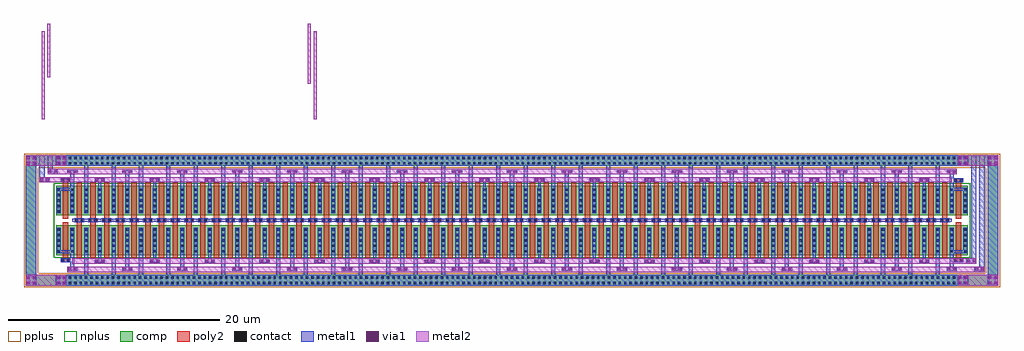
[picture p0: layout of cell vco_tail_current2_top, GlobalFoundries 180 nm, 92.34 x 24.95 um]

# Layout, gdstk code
from math import pi, radians
import gdstk
lib = gdstk.Library(unit=1e-6, precision=5e-09)
def R(c, l, rs):  # rectangles x0, y0, x1, y1
    for r in rs: c.add(gdstk.rectangle(r[:2], r[2:], *l))
def A(c, l, x, y, w, h, nx, ny, dx, dy):  # array of equal rectangles
    R(c, l, [(x+i*dx, y+j*dy, x+i*dx+w, y+j*dy+h) for i in range(nx) for j in range(ny)])
comp = (22, 0)
poly2 = (30, 0)
pplus = (31, 0)
nplus = (32, 0)
contact = (33, 0)
metal1 = (34, 0)
via1 = (35, 0)
metal2 = (36, 0)

vco_tail_current_ncell2_ = lib.new_cell('vco_tail_current_ncell2_1$2$1')
R(vco_tail_current_ncell2_, comp, [(0,0.3,0.42,3.12), (0.42,0.3,1.3,3.12), (1.3,0.3,1.72,3.12)])
R(vco_tail_current_ncell2_, poly2, [(0.61,0,1.11,3.42)])
A(vco_tail_current_ncell2_, contact, 0.1, 0.58, 0.22, 0.22, 1, 5, 0, 0.51)
A(vco_tail_current_ncell2_, contact, 1.4, 0.58, 0.22, 0.22, 1, 5, 0, 0.51)
R(vco_tail_current_ncell2_, metal1, [(0.02,0.5,0.4,2.92), (1.32,0.5,1.7,2.92)])

c_vco_tail_current_ncell2_ = lib.new_cell('vco_tail_current_ncell2_4$1')
A(c_vco_tail_current_ncell2_, poly2, 0.425, 3.42, 0.87, 0.36, 4, 1, 1.3, 0)
R(c_vco_tail_current_ncell2_, contact, [(0.495,3.49,0.715,3.71), (1.005,3.49,1.225,3.71), (1.795,3.49,2.015,3.71), (2.305,3.49,2.525,3.71), (3.095,3.49,3.315,3.71), (3.605,3.49,3.825,3.71), (4.395,3.49,4.615,3.71), (4.905,3.49,5.125,3.71)])
A(c_vco_tail_current_ncell2_, metal1, 0.415, 3.41, 0.89, 0.38, 4, 1, 1.3, 0)
c_vco_tail_current_ncell2_.add(gdstk.Reference(vco_tail_current_ncell2_, (0,0)))
c_vco_tail_current_ncell2_.add(gdstk.Reference(vco_tail_current_ncell2_, (1.3,0)))
c_vco_tail_current_ncell2_.add(gdstk.Reference(vco_tail_current_ncell2_, (2.6,0)))
c_vco_tail_current_ncell2_.add(gdstk.Reference(vco_tail_current_ncell2_, (3.9,0)))

c_vco_tail_current_ncell2__ = lib.new_cell('vco_tail_current_ncell2_4_4')
R(c_vco_tail_current_ncell2__, via1, [(0.1,1.57,0.36,1.83), (0.62,1.57,0.88,1.83), (5.3,1.57,5.56,1.83), (5.82,1.57,6.08,1.83), (2.695,2.35,2.955,2.61), (3.215,2.35,3.475,2.61), (2.695,10.05,2.955,10.31), (3.215,10.05,3.475,10.31), (0.1,10.83,0.36,11.09), (0.62,10.83,0.88,11.09), (5.3,10.83,5.56,11.09), (5.82,10.83,6.08,11.09)])
c_vco_tail_current_ncell2__.add(gdstk.FlexPath([(0,10.96),(0.98,10.96)], 0.28, ends="flush", simple_path=True, layer=34, datatype=0))  # metal1
c_vco_tail_current_ncell2__.add(gdstk.FlexPath([(5.2,10.96),(6.18,10.96)], 0.28, ends="flush", simple_path=True, layer=34, datatype=0))  # metal1
c_vco_tail_current_ncell2__.add(gdstk.FlexPath([(0.485,11.99),(5.685,11.99)], 1, ends="flush", simple_path=True, layer=34, datatype=0))  # metal1
c_vco_tail_current_ncell2__.add(gdstk.FlexPath([(2.595,10.18),(3.575,10.18)], 0.28, ends="flush", simple_path=True, layer=34, datatype=0))  # metal1
c_vco_tail_current_ncell2__.add(gdstk.FlexPath([(3.085,9.43),(3.085,10.04)], 0.28, ends="flush", simple_path=True, layer=34, datatype=0))  # metal1
c_vco_tail_current_ncell2__.add(gdstk.FlexPath([(0.485,9.43),(0.485,10.82)], 0.38, ends="flush", simple_path=True, layer=34, datatype=0))  # metal1
c_vco_tail_current_ncell2__.add(gdstk.FlexPath([(5.685,9.43),(5.685,10.82)], 0.38, ends="flush", simple_path=True, layer=34, datatype=0))  # metal1
c_vco_tail_current_ncell2__.add(gdstk.FlexPath([(1.785,11.49),(1.785,9.43)], 0.38, ends="flush", simple_path=True, layer=34, datatype=0))  # metal1
c_vco_tail_current_ncell2__.add(gdstk.FlexPath([(4.385,11.49),(4.385,9.43)], 0.38, ends="flush", simple_path=True, layer=34, datatype=0))  # metal1
c_vco_tail_current_ncell2__.add(gdstk.FlexPath([(0,1.7),(0.98,1.7)], 0.28, ends="flush", simple_path=True, layer=34, datatype=0))  # metal1
c_vco_tail_current_ncell2__.add(gdstk.FlexPath([(5.2,1.7),(6.18,1.7)], 0.28, ends="flush", simple_path=True, layer=34, datatype=0))  # metal1
c_vco_tail_current_ncell2__.add(gdstk.FlexPath([(0.485,0.67),(5.685,0.67)], 1, ends="flush", simple_path=True, layer=34, datatype=0))  # metal1
c_vco_tail_current_ncell2__.add(gdstk.FlexPath([(2.595,2.48),(3.575,2.48)], 0.28, ends="flush", simple_path=True, layer=34, datatype=0))  # metal1
c_vco_tail_current_ncell2__.add(gdstk.FlexPath([(3.085,3.23),(3.085,2.62)], 0.28, ends="flush", simple_path=True, layer=34, datatype=0))  # metal1
c_vco_tail_current_ncell2__.add(gdstk.FlexPath([(0.485,3.23),(0.485,1.84)], 0.38, ends="flush", simple_path=True, layer=34, datatype=0))  # metal1
c_vco_tail_current_ncell2__.add(gdstk.FlexPath([(5.685,3.23),(5.685,1.84)], 0.38, ends="flush", simple_path=True, layer=34, datatype=0))  # metal1
c_vco_tail_current_ncell2__.add(gdstk.FlexPath([(1.785,1.17),(1.785,3.23)], 0.38, ends="flush", simple_path=True, layer=34, datatype=0))  # metal1
c_vco_tail_current_ncell2__.add(gdstk.FlexPath([(4.385,1.17),(4.385,3.23)], 0.38, ends="flush", simple_path=True, layer=34, datatype=0))  # metal1
c_vco_tail_current_ncell2__.add(gdstk.FlexPath([(5.685,6.33),(0.485,6.33)], 0.28, ends="flush", simple_path=True, layer=34, datatype=0))  # metal1
c_vco_tail_current_ncell2__.add(gdstk.FlexPath([(0.485,11.99),(5.685,11.99)], 1, ends="flush", simple_path=True, layer=22, datatype=0))  # comp
c_vco_tail_current_ncell2__.add(gdstk.FlexPath([(0.485,0.67),(5.685,0.67)], 1, ends="flush", simple_path=True, layer=22, datatype=0))  # comp
c_vco_tail_current_ncell2__.add(gdstk.FlexPath([(0.485,10.18),(5.685,10.18)], 0.5, ends="flush", simple_path=True, layer=36, datatype=0))  # metal2
c_vco_tail_current_ncell2__.add(gdstk.FlexPath([(0.485,2.48),(5.685,2.48)], 0.5, ends="flush", simple_path=True, layer=36, datatype=0))  # metal2
c_vco_tail_current_ncell2__.add(gdstk.FlexPath([(0.485,10.96),(5.685,10.96)], 0.5, ends="flush", simple_path=True, layer=36, datatype=0))  # metal2
c_vco_tail_current_ncell2__.add(gdstk.FlexPath([(0.485,1.7),(5.685,1.7)], 0.5, ends="flush", simple_path=True, layer=36, datatype=0))  # metal2
c_vco_tail_current_ncell2__.add(gdstk.FlexPath([(0.485,11.99),(5.685,11.99)], 1.34, ends="flush", simple_path=True, layer=31, datatype=0))  # pplus
c_vco_tail_current_ncell2__.add(gdstk.FlexPath([(0.485,0.67),(5.685,0.67)], 1.34, ends="flush", simple_path=True, layer=31, datatype=0))  # pplus
c_vco_tail_current_ncell2__.add(gdstk.Reference(c_vco_tail_current_ncell2_, (0.275,2.73)))
c_vco_tail_current_ncell2__.add(gdstk.Reference(c_vco_tail_current_ncell2_, (0.275,9.93), x_reflection=True))

c_vco_tail_current_ncell2___ = lib.new_cell('vco_tail_current_ncell2_1$1')
R(c_vco_tail_current_ncell2___, comp, [(0,0.3,0.42,3.12), (0.42,0.3,1.3,3.12), (1.3,0.3,1.72,3.12)])
R(c_vco_tail_current_ncell2___, poly2, [(0.61,0,1.11,3.42)])
A(c_vco_tail_current_ncell2___, contact, 0.1, 0.58, 0.22, 0.22, 1, 5, 0, 0.51)
A(c_vco_tail_current_ncell2___, contact, 1.4, 0.58, 0.22, 0.22, 1, 5, 0, 0.51)
R(c_vco_tail_current_ncell2___, metal1, [(0.02,0.5,0.4,2.92), (1.32,0.5,1.7,2.92)])

c_vco_tail_current_ncell2____ = lib.new_cell('vco_tail_current_ncell2_1_2')
R(c_vco_tail_current_ncell2____, poly2, [(0.41,0.01,1.28,0.37), (0.41,0.01,1.28,0.37), (0.41,7.57,1.28,7.93), (0.41,7.57,1.28,7.93)])
R(c_vco_tail_current_ncell2____, contact, [(0.48,0.08,0.7,0.3), (0.48,0.08,0.7,0.3), (0.99,0.08,1.21,0.3), (0.99,0.08,1.21,0.3), (0.48,7.64,0.7,7.86), (0.48,7.64,0.7,7.86), (0.99,7.64,1.21,7.86), (0.99,7.64,1.21,7.86)])
R(c_vco_tail_current_ncell2____, metal1, [(0.4,0,1.29,0.38), (0.4,0,1.29,0.38), (0.4,7.56,1.29,7.94), (0.4,7.56,1.29,7.94)])
c_vco_tail_current_ncell2____.add(gdstk.FlexPath([(1.32,1.01),(0.4,1.01)], 0.28, ends="flush", simple_path=True, layer=34, datatype=0))  # metal1
c_vco_tail_current_ncell2____.add(gdstk.FlexPath([(1.32,6.93),(0.4,6.93)], 0.28, ends="flush", simple_path=True, layer=34, datatype=0))  # metal1
c_vco_tail_current_ncell2____.add(gdstk.Reference(c_vco_tail_current_ncell2___, (0,0.37)))
c_vco_tail_current_ncell2____.add(gdstk.Reference(c_vco_tail_current_ncell2___, (0,7.57), x_reflection=True))

m1_m2 = lib.new_cell('M1_M2')
R(m1_m2, via1, [(0.1,0.01,0.36,0.27), (0.62,0.01,0.88,0.27)])
m1_m2.add(gdstk.FlexPath([(0,0.14),(0.98,0.14)], 0.28, ends="flush", simple_path=True, layer=34, datatype=0))  # metal1
m1_m2.add(gdstk.FlexPath([(0,0.14),(0.98,0.14)], 0.28, ends="flush", simple_path=True, layer=36, datatype=0))  # metal2

vco_tail_current2_top = lib.new_cell('vco_tail_current2_top')
R(vco_tail_current2_top, nplus, [(8.75,18.935,95.45,26.015)])
A(vco_tail_current2_top, contact, 9.15, 16.45, 0.22, 0.22, 169, 2, 0.51, 0.51)
A(vco_tail_current2_top, contact, 9.15, 27.77, 0.22, 0.22, 169, 2, 0.51, 0.51)
R(vco_tail_current2_top, metal1, [(95.84,17.595,96.32,18.095), (95.06,18.375,95.54,18.875), (7.88,26.075,8.36,26.575), (8.66,26.855,9.14,27.355)])
vco_tail_current2_top.add(gdstk.FlexPath([(8.41,26.855),(8.41,28.635)], 0.5, ends="flush", simple_path=True, layer=34, datatype=0))  # metal1
vco_tail_current2_top.add(gdstk.FlexPath([(7.63,26.075),(7.63,28.635)], 0.5, ends="flush", simple_path=True, layer=34, datatype=0))  # metal1
vco_tail_current2_top.add(gdstk.FlexPath([(96.57,17.595),(96.57,28.635)], 0.5, ends="flush", simple_path=True, layer=34, datatype=0))  # metal1
vco_tail_current2_top.add(gdstk.FlexPath([(95.79,18.375),(95.79,28.635)], 0.5, ends="flush", simple_path=True, layer=34, datatype=0))  # metal1
vco_tail_current2_top.add(gdstk.FlexPath([(6.6,28.635),(6.6,16.315)], 1, ends="flush", simple_path=True, layer=34, datatype=0))  # metal1
vco_tail_current2_top.add(gdstk.FlexPath([(10.5,28.135),(8.94,28.135)], 1, ends="flush", simple_path=True, layer=34, datatype=0))  # metal1
vco_tail_current2_top.add(gdstk.FlexPath([(10.5,16.815),(8.94,16.815)], 1, ends="flush", simple_path=True, layer=34, datatype=0))  # metal1
vco_tail_current2_top.add(gdstk.FlexPath([(10.5,16.815),(8.94,16.815)], 1, ends="flush", simple_path=True, layer=34, datatype=0))  # metal1
vco_tail_current2_top.add(gdstk.FlexPath([(97.6,28.635),(97.6,16.315)], 1, ends="flush", simple_path=True, layer=34, datatype=0))  # metal1
vco_tail_current2_top.add(gdstk.FlexPath([(93.7,28.135),(95.26,28.135)], 1, ends="flush", simple_path=True, layer=34, datatype=0))  # metal1
vco_tail_current2_top.add(gdstk.FlexPath([(93.7,16.815),(95.26,16.815)], 1, ends="flush", simple_path=True, layer=34, datatype=0))  # metal1
vco_tail_current2_top.add(gdstk.FlexPath([(93.7,16.815),(95.26,16.815)], 1, ends="flush", simple_path=True, layer=34, datatype=0))  # metal1
vco_tail_current2_top.add(gdstk.FlexPath([(10.5,28.135),(6.6,28.135),(6.6,16.815),(10.5,16.815)], 1, ends="flush", simple_path=True, layer=22, datatype=0))  # comp
vco_tail_current2_top.add(gdstk.FlexPath([(93.7,28.135),(97.6,28.135),(97.6,16.815),(93.7,16.815)], 1, ends="flush", simple_path=True, layer=22, datatype=0))  # comp
vco_tail_current2_top.add(gdstk.FlexPath([(10.5,26.325),(7.38,26.325)], 0.5, ends="flush", simple_path=True, layer=36, datatype=0))  # metal2
vco_tail_current2_top.add(gdstk.FlexPath([(10.5,27.105),(8.16,27.105)], 0.5, ends="flush", simple_path=True, layer=36, datatype=0))  # metal2
vco_tail_current2_top.add(gdstk.FlexPath([(93.7,18.625),(96.04,18.625)], 0.5, ends="flush", simple_path=True, layer=36, datatype=0))  # metal2
vco_tail_current2_top.add(gdstk.FlexPath([(93.7,17.845),(96.82,17.845)], 0.5, ends="flush", simple_path=True, layer=36, datatype=0))  # metal2
vco_tail_current2_top.add(gdstk.FlexPath([(6.1,28.135),(9.94,28.135)], 1, ends="flush", simple_path=True, layer=36, datatype=0))  # metal2
vco_tail_current2_top.add(gdstk.FlexPath([(6.1,16.815),(9.94,16.815)], 1, ends="flush", simple_path=True, layer=36, datatype=0))  # metal2
vco_tail_current2_top.add(gdstk.FlexPath([(98.1,28.135),(94.26,28.135)], 1, ends="flush", simple_path=True, layer=36, datatype=0))  # metal2
vco_tail_current2_top.add(gdstk.FlexPath([(98.1,16.815),(94.26,16.815)], 1, ends="flush", simple_path=True, layer=36, datatype=0))  # metal2
vco_tail_current2_top.add(gdstk.FlexPath([(93.7,27.105),(94.195,27.105)], 0.5, ends="flush", simple_path=True, layer=36, datatype=0))  # metal2
vco_tail_current2_top.add(gdstk.FlexPath([(10.5,17.845),(10.015,17.845)], 0.5, ends="flush", simple_path=True, layer=36, datatype=0))  # metal2
vco_tail_current2_top.add(gdstk.FlexPath([(32.91,41.09),(32.91,35.4)], 0.28, ends="flush", simple_path=True, layer=36, datatype=0))  # metal2
vco_tail_current2_top.add(gdstk.FlexPath([(8.29,41.09),(8.29,36.01)], 0.28, ends="flush", simple_path=True, layer=36, datatype=0))  # metal2
vco_tail_current2_top.add(gdstk.FlexPath([(33.47,40.38),(33.47,32.06)], 0.28, ends="flush", simple_path=True, layer=36, datatype=0))  # metal2
vco_tail_current2_top.add(gdstk.FlexPath([(7.73,40.38),(7.73,32.06)], 0.28, ends="flush", simple_path=True, layer=36, datatype=0))  # metal2
vco_tail_current2_top.add(gdstk.FlexPath([(10.5,28.135),(6.6,28.135),(6.6,16.815),(10.5,16.815)], 1.34, ends="flush", simple_path=True, layer=31, datatype=0))  # pplus
vco_tail_current2_top.add(gdstk.FlexPath([(93.7,28.135),(97.6,28.135),(97.6,16.815),(93.7,16.815)], 1.34, ends="flush", simple_path=True, layer=31, datatype=0))  # pplus
vco_tail_current2_top.add(gdstk.Reference(c_vco_tail_current_ncell2__, (10.015,16.145)))
vco_tail_current2_top.add(gdstk.Reference(c_vco_tail_current_ncell2__, (15.215,16.145)))
vco_tail_current2_top.add(gdstk.Reference(c_vco_tail_current_ncell2__, (20.415,16.145)))
vco_tail_current2_top.add(gdstk.Reference(c_vco_tail_current_ncell2__, (25.615,16.145)))
vco_tail_current2_top.add(gdstk.Reference(c_vco_tail_current_ncell2__, (30.815,16.145)))
vco_tail_current2_top.add(gdstk.Reference(c_vco_tail_current_ncell2__, (36.015,16.145)))
vco_tail_current2_top.add(gdstk.Reference(c_vco_tail_current_ncell2__, (41.215,16.145)))
vco_tail_current2_top.add(gdstk.Reference(c_vco_tail_current_ncell2__, (46.415,16.145)))
vco_tail_current2_top.add(gdstk.Reference(c_vco_tail_current_ncell2__, (51.615,16.145)))
vco_tail_current2_top.add(gdstk.Reference(c_vco_tail_current_ncell2__, (56.815,16.145)))
vco_tail_current2_top.add(gdstk.Reference(c_vco_tail_current_ncell2__, (62.015,16.145)))
vco_tail_current2_top.add(gdstk.Reference(c_vco_tail_current_ncell2__, (67.215,16.145)))
vco_tail_current2_top.add(gdstk.Reference(c_vco_tail_current_ncell2__, (72.415,16.145)))
vco_tail_current2_top.add(gdstk.Reference(c_vco_tail_current_ncell2__, (77.615,16.145)))
vco_tail_current2_top.add(gdstk.Reference(c_vco_tail_current_ncell2__, (82.815,16.145)))
vco_tail_current2_top.add(gdstk.Reference(c_vco_tail_current_ncell2__, (88.015,16.145)))
vco_tail_current2_top.add(gdstk.Reference(c_vco_tail_current_ncell2____, (10.71,18.505), rotation=pi, x_reflection=True))
vco_tail_current2_top.add(gdstk.Reference(c_vco_tail_current_ncell2____, (93.49,18.505)))
vco_tail_current2_top.add(gdstk.Reference(m1_m2, (9.14,27.245), rotation=pi))
vco_tail_current2_top.add(gdstk.Reference(m1_m2, (8.36,26.465), rotation=pi))
vco_tail_current2_top.add(gdstk.Reference(m1_m2, (95.84,17.985), x_reflection=True))
vco_tail_current2_top.add(gdstk.Reference(m1_m2, (95.06,18.765), x_reflection=True))
vco_tail_current2_top.add(gdstk.Reference(m1_m2, (6.73,28.625), rotation=3*pi/2))
vco_tail_current2_top.add(gdstk.Reference(m1_m2, (6.19,28.625), rotation=3*pi/2))
vco_tail_current2_top.add(gdstk.Reference(m1_m2, (9.57,28.625), rotation=3*pi/2))
vco_tail_current2_top.add(gdstk.Reference(m1_m2, (9.03,28.625), rotation=3*pi/2))
vco_tail_current2_top.add(gdstk.Reference(m1_m2, (6.73,17.305), rotation=3*pi/2))
vco_tail_current2_top.add(gdstk.Reference(m1_m2, (6.19,17.305), rotation=3*pi/2))
vco_tail_current2_top.add(gdstk.Reference(m1_m2, (9.57,17.305), rotation=3*pi/2))
vco_tail_current2_top.add(gdstk.Reference(m1_m2, (9.03,17.305), rotation=3*pi/2))
vco_tail_current2_top.add(gdstk.Reference(m1_m2, (97.47,28.625), rotation=3*pi/2, x_reflection=True))
vco_tail_current2_top.add(gdstk.Reference(m1_m2, (98.01,28.625), rotation=3*pi/2, x_reflection=True))
vco_tail_current2_top.add(gdstk.Reference(m1_m2, (94.63,28.625), rotation=3*pi/2, x_reflection=True))
vco_tail_current2_top.add(gdstk.Reference(m1_m2, (95.17,28.625), rotation=3*pi/2, x_reflection=True))
vco_tail_current2_top.add(gdstk.Reference(m1_m2, (97.47,17.305), rotation=3*pi/2, x_reflection=True))
vco_tail_current2_top.add(gdstk.Reference(m1_m2, (98.01,17.305), rotation=3*pi/2, x_reflection=True))
vco_tail_current2_top.add(gdstk.Reference(m1_m2, (94.63,17.305), rotation=3*pi/2, x_reflection=True))
vco_tail_current2_top.add(gdstk.Reference(m1_m2, (95.17,17.305), rotation=3*pi/2, x_reflection=True))

lib.write_gds('vco_tail_current2_top.gds')
